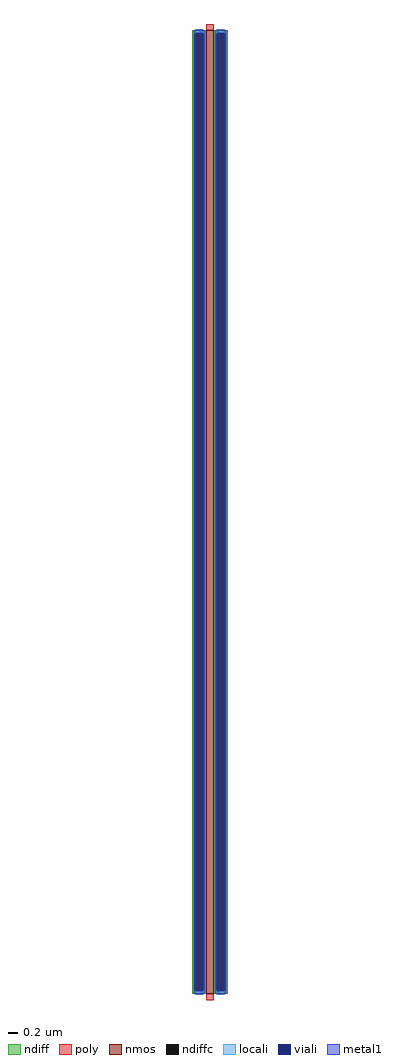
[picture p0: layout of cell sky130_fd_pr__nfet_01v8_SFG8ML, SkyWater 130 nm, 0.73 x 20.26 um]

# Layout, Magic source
magic
tech sky130A
magscale 1 2
<< nmos >>
rect -15 -2000 15 2000
<< ndiff >>
rect -73 1988 -15 2000
rect -73 -1988 -61 1988
rect -27 -1988 -15 1988
rect -73 -2000 -15 -1988
rect 15 1988 73 2000
rect 15 -1988 27 1988
rect 61 -1988 73 1988
rect 15 -2000 73 -1988
<< ndiffc >>
rect -61 -1988 -27 1988
rect 27 -1988 61 1988
<< poly >>
rect -15 2000 15 2026
rect -15 -2026 15 -2000
<< locali >>
rect -61 1988 -27 2004
rect -61 -2004 -27 -1988
rect 27 1988 61 2004
rect 27 -2004 61 -1988
<< viali >>
rect -61 -1988 -27 1988
rect 27 -1988 61 1988
<< metal1 >>
rect -67 1988 -21 2000
rect -67 -1988 -61 1988
rect -27 -1988 -21 1988
rect -67 -2000 -21 -1988
rect 21 1988 67 2000
rect 21 -1988 27 1988
rect 61 -1988 67 1988
rect 21 -2000 67 -1988
<< properties >>
string gencell sky130_fd_pr__nfet_01v8
string parameters w 20 l 0.150 m 1 nf 1 diffcov 100 polycov 100 guard 0 glc 0 grc 0 gtc 0 gbc 0 tbcov 100 rlcov 100 topc 0 botc 0 poverlap 0 doverlap 0 lmin 0.15 wmin 0.42 compatible {sky130_fd_pr__nfet_01v8 sky130_fd_pr__nfet_01v8_lvt  sky130_fd_bs_flash__special_sonosfet_star  sky130_fd_pr__nfet_g5v0d10v5 sky130_fd_pr__nfet_05v0_nvt  sky130_fd_pr__nfet_03v3_nvt} full_metal 0 viasrc 100 viadrn 100 viagate 100 viagb 0 viagr 0 viagl 0 viagt 0
string library sky130
<< end >>
